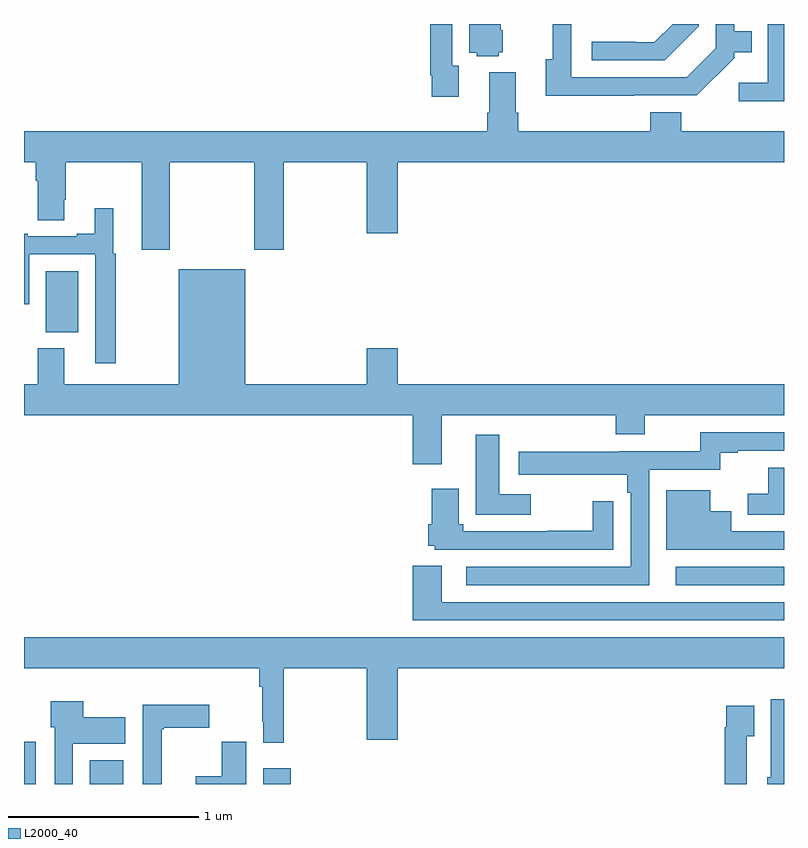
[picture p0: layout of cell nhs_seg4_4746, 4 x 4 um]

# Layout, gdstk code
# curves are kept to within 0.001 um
import gdstk
lib = gdstk.Library(unit=1e-6, precision=1e-09)
def R(c, l, rs):  # rectangles x0, y0, x1, y1
    for r in rs: c.add(gdstk.rectangle(r[:2], r[2:], *l))
def P(c, l, *ps):  # polygons
    for p in ps: c.add(gdstk.Polygon(p, *l))
L2000_40 = (2000, 40)

nhs_seg4_4746 = lib.new_cell('nhs_seg4_4746')
R(nhs_seg4_4746, L2000_40, [(367,774.9,367.063,775.123), (367.346,774.9,367.522,775.024), (368.258,774.9,368.405,774.982), (370.431,775.947,371,776.043), (367.115,777.278,367.285,777.598), (369.968,778.899,370.273,778.9)])
P(nhs_seg4_4746, L2000_40, [(369.498,778.752),(369.52,778.752),(369.52,778.866),(369.508,778.866),(369.508,778.9),(369.344,778.9),(369.344,778.748),(369.384,778.748),(369.384,778.73),(369.498,778.73)],
  [(371,778.9),(370.914,778.9),(370.914,778.591),(370.761,778.591),(370.761,778.493),(371,778.493)],
  [(369.289,778.679),(369.255,778.679),(369.255,778.9),(369.139,778.9),(369.139,778.63),(369.147,778.63),(369.147,778.518),(369.289,778.518)],
  [(370.551,778.889),(370.551,778.9),(370.414,778.9),(370.317,778.803),(370.217,778.803),(370.217,778.806),(369.987,778.806),(369.987,778.71),(370.372,778.71)],
  [(370.211,778.524),(370.542,778.524),(370.737,778.719),(370.737,778.751),(370.829,778.751),(370.829,778.861),(370.738,778.861),(370.738,778.9),(370.641,778.9),(370.641,778.773),(370.488,778.62),(369.879,778.62),(369.879,778.9),(369.783,778.9),(369.783,778.714),(369.746,778.714),(369.746,778.523)],
  [(367.767,778.172),(368.212,778.172),(368.212,777.711),(368.367,777.711),(368.367,778.172),(368.804,778.172),(368.804,777.798),(368.968,777.798),(368.968,778.172),(371,778.172),(371,778.336),(370.46,778.336),(370.46,778.435),(370.295,778.435),(370.295,778.336),(369.602,778.336),(369.602,778.432),(369.589,778.432),(369.589,778.645),(369.449,778.645),(369.449,778.432),(369.437,778.432),(369.437,778.336),(367,778.336),(367,778.172),(367.061,778.172),(367.061,778.076),(367.073,778.076),(367.073,777.868),(367.213,777.868),(367.213,777.976),(367.221,777.976),(367.221,778.172),(367.619,778.172),(367.619,777.711),(367.767,777.711)],
  [(367.483,777.69),(367.471,777.69),(367.471,777.931),(367.373,777.931),(367.373,777.796),(367.277,777.796),(367.277,777.783),(367.021,777.783),(367.021,777.796),(367,777.796),(367,777.426),(367.027,777.426),(367.027,777.687),(367.374,777.687),(367.374,777.114),(367.483,777.114)],
  [(369.199,776.84),(370.115,776.84),(370.115,776.741),(370.267,776.741),(370.267,776.84),(371,776.84),(371,777.004),(368.968,777.004),(368.968,777.193),(368.804,777.193),(368.804,777.004),(368.164,777.004),(368.164,777.61),(367.814,777.61),(367.814,777.004),(367.213,777.004),(367.213,777.193),(367.073,777.193),(367.073,777.004),(367,777.004),(367,776.84),(369.047,776.84),(369.047,776.583),(369.199,776.583)],
  [(370.29,776.553),(370.664,776.553),(370.664,776.643),(370.756,776.643),(370.756,776.655),(371,776.655),(371,776.751),(370.558,776.751),(370.558,776.651),(370.131,776.651),(370.131,776.65),(369.603,776.65),(369.603,776.528),(370.174,776.528),(370.174,776.432),(370.194,776.432),(370.194,776.043),(369.327,776.043),(369.327,775.947),(370.29,775.947)],
  [(369.667,776.425),(369.502,776.425),(369.502,776.737),(369.377,776.737),(369.377,776.318),(369.667,776.318)],
  [(371,776.565),(370.918,776.565),(370.918,776.428),(370.808,776.428),(370.808,776.318),(371,776.318)],
  [(370.101,776.389),(369.993,776.389),(369.993,776.234),(369.754,776.234),(369.754,776.229),(369.311,776.229),(369.311,776.268),(369.289,776.268),(369.289,776.455),(369.146,776.455),(369.146,776.268),(369.128,776.268),(369.128,776.154),(369.162,776.154),(369.162,776.133),(370.101,776.133)],
  [(370.619,776.133),(371,776.133),(371,776.229),(370.723,776.229),(370.723,776.335),(370.612,776.335),(370.612,776.446),(370.379,776.446),(370.379,776.132),(370.619,776.132)],
  [(371,775.857),(369.199,775.857),(369.199,776.048),(369.047,776.048),(369.047,775.761),(371,775.761)],
  [(368.368,775.508),(368.804,775.508),(368.804,775.134),(368.968,775.134),(368.968,775.508),(371,775.508),(371,775.672),(367,775.672),(367,775.508),(368.239,775.508),(368.239,775.412),(368.254,775.412),(368.254,775.228),(368.259,775.228),(368.259,775.116),(368.368,775.116)],
  [(371,775.345),(370.931,775.345),(370.931,774.936),(370.913,774.936),(370.913,774.9),(371,774.9)],
  [(367.257,775.112),(367.534,775.112),(367.534,775.252),(367.311,775.252),(367.311,775.336),(367.142,775.336),(367.142,775.2),(367.161,775.2),(367.161,774.9),(367.257,774.9)],
  [(367.724,775.189),(367.735,775.189),(367.735,775.196),(367.975,775.196),(367.975,775.318),(367.626,775.318),(367.626,774.9),(367.724,774.9)],
  [(370.803,775.151),(370.843,775.151),(370.843,775.312),(370.695,775.312),(370.695,775.199),(370.687,775.199),(370.687,774.9),(370.803,774.9)],
  [(368.17,775.123),(368.041,775.123),(368.041,774.94),(367.905,774.94),(367.905,774.9),(368.17,774.9)])

lib.write_gds('nhs_seg4_4746.gds')
